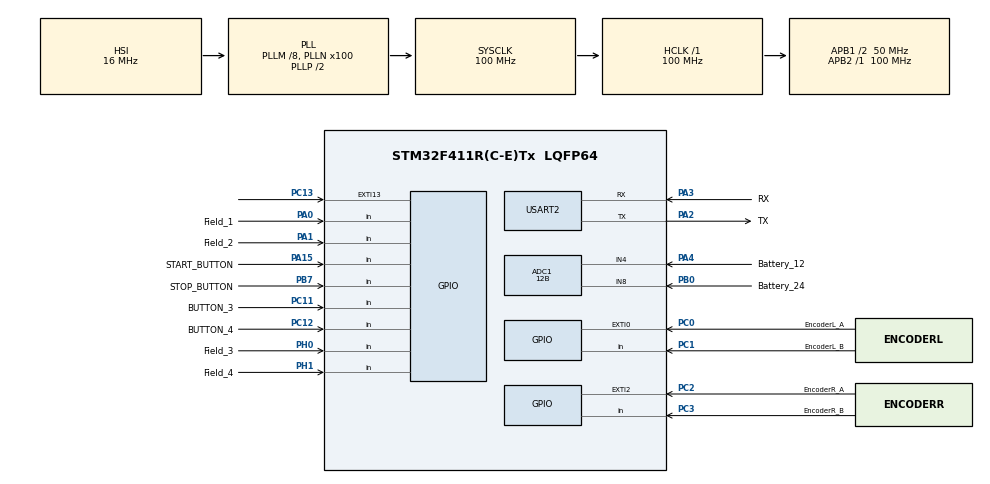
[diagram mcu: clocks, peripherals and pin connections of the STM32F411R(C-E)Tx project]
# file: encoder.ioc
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ADC1.Channel-60\#ChannelRegularConversion=ADC_CHANNEL_4
ADC1.Channel-62\#ChannelRegularConversion=ADC_CHANNEL_8
ADC1.ClockPrescaler=ADC_CLOCK_SYNC_PCLK_DIV8
ADC1.ContinuousConvMode=ENABLE
ADC1.DMAContinuousRequests=ENABLE
ADC1.DataAlign=ADC_DATAALIGN_RIGHT
ADC1.DiscontinuousConvMode=DISABLE
ADC1.EOCSelection=ADC_EOC_SINGLE_CONV
ADC1.EnableAnalogWatchDog=false
ADC1.ExternalTrigConv=ADC_SOFTWARE_START
ADC1.ExternalTrigConvEdge=ADC_EXTERNALTRIGCONVEDGE_NONE
ADC1.InjNumberOfConversion=0
ADC1.NbrOfConversion=2
ADC1.NbrOfConversionFlag=1
ADC1.Rank-60\#ChannelRegularConversion=1
ADC1.Rank-62\#ChannelRegularConversion=2
ADC1.Resolution=ADC_RESOLUTION_12B
ADC1.SamplingTime-60\#ChannelRegularConversion=ADC_SAMPLETIME_480CYCLES
ADC1.SamplingTime-62\#ChannelRegularConversion=ADC_SAMPLETIME_480CYCLES
ADC1.ScanConvMode=ENABLE
ADC1.master=1
Dma.ADC1.0.Direction=DMA_PERIPH_TO_MEMORY
Dma.ADC1.0.FIFOMode=DMA_FIFOMODE_DISABLE
Dma.ADC1.0.Instance=DMA2_Stream0
Dma.ADC1.0.MemDataAlignment=DMA_MDATAALIGN_HALFWORD
Dma.ADC1.0.MemInc=DMA_MINC_ENABLE
Dma.ADC1.0.Mode=DMA_CIRCULAR
Dma.ADC1.0.PeriphDataAlignment=DMA_PDATAALIGN_HALFWORD
Dma.ADC1.0.PeriphInc=DMA_PINC_DISABLE
Dma.ADC1.0.Priority=DMA_PRIORITY_LOW
Dma.Request0=ADC1
Mcu.Family=STM32F4
Mcu.Name=STM32F411R(C-E)Tx
Mcu.Package=LQFP64
NVIC.DMA2_Stream0_IRQn=true\:0\:0\:false\:false\:true
NVIC.EXTI0_IRQn=true\:0\:0\:false\:false\:true
NVIC.EXTI2_IRQn=true\:0\:0\:false\:false\:true
NVIC.PriorityGroup=NVIC_PRIORITYGROUP_0
NVIC.USART2_IRQn=true\:0\:0\:false\:false\:true
PA0-WKUP.GPIO_Label=Field_1
PA0-WKUP.Signal=GPIO_Input
PA1.GPIO_Label=Field_2
PA1.Signal=GPIO_Input
PA13.Signal=SYS_JTMS-SWDIO
PA14.Signal=SYS_JTCK-SWCLK
PA15.GPIO_Label=START_BUTTON
PA15.Signal=GPIO_Input
PA2.GPIO_Label=TX
PA2.GPIO_Mode=GPIO_MODE_AF_PP
PA2.GPIO_PuPd=GPIO_PULLUP
PA2.GPIO_Speed=GPIO_SPEED_FREQ_VERY_HIGH
PA2.Mode=Asynchronous
PA2.Signal=USART2_TX
PA3.GPIO_Label=RX
PA3.GPIO_Mode=GPIO_MODE_AF_PP
PA3.GPIO_PuPd=GPIO_PULLUP
PA3.GPIO_Speed=GPIO_SPEED_FREQ_VERY_HIGH
PA3.Mode=Asynchronous
PA3.Signal=USART2_RX
PA4.GPIO_Label=Battery_12
PA4.GPIO_Mode=GPIO_MODE_ANALOG
PA4.GPIO_PuPd=GPIO_NOPULL
PA4.Signal=ADCx_IN4
PB0.GPIO_Label=Battery_24
PB0.Signal=ADCx_IN8
PB3.Signal=SYS_JTDO-SWO
PB7.GPIO_Label=STOP_BUTTON
PB7.Signal=GPIO_Input
PC0.GPIO_Label=EncoderL_A
PC0.GPIO_ModeDefaultEXTI=GPIO_MODE_IT_RISING
PC0.GPIO_PuPd=GPIO_NOPULL
PC0.Signal=GPXTI0
PC1.GPIO_Label=EncoderL_B
PC1.GPIO_Mode=GPIO_MODE_INPUT
PC1.GPIO_PuPd=GPIO_NOPULL
PC1.Signal=GPIO_Input
PC11.GPIO_Label=BUTTON_3
PC11.Signal=GPIO_Input
PC12.GPIO_Label=BUTTON_4
PC12.Signal=GPIO_Input
PC13-ANTI_TAMP.GPIO_ModeDefaultEXTI=GPIO_MODE_IT_RISING
PC13-ANTI_TAMP.GPIO_PuPd=GPIO_NOPULL
PC13-ANTI_TAMP.Signal=GPXTI13
PC14-OSC32_IN.Signal=RCC_OSC32_IN
PC15-OSC32_OUT.Signal=RCC_OSC32_OUT
PC2.GPIO_Label=EncoderR_A
PC2.GPIO_ModeDefaultEXTI=GPIO_MODE_IT_RISING
PC2.GPIO_PuPd=GPIO_NOPULL
PC2.Signal=GPXTI2
PC3.GPIO_Label=EncoderR_B
PC3.GPIO_Mode=GPIO_MODE_INPUT
PC3.GPIO_PuPd=GPIO_NOPULL
PC3.Signal=GPIO_Input
PH0\ -\ OSC_IN.GPIO_Label=Field_3
PH0\ -\ OSC_IN.Signal=GPIO_Input
PH1\ -\ OSC_OUT.GPIO_Label=Field_4
PH1\ -\ OSC_OUT.Signal=GPIO_Input
ProjectManager.HeapSize=0x200
ProjectManager.StackSize=0x400
ProjectManager.TargetToolchain=SW4STM32
RCC.48MHZClocksFreq_Value=50000000
RCC.AHBFreq_Value=100000000
RCC.APB1CLKDivider=RCC_HCLK_DIV2
RCC.APB1Freq_Value=50000000
RCC.APB1TimFreq_Value=100000000
RCC.APB2Freq_Value=100000000
RCC.APB2TimFreq_Value=100000000
RCC.CortexFreq_Value=100000000
RCC.FLatency-AdvancedSettings=FLASH_LATENCY_3
RCC.HCLKFreq_Value=100000000
RCC.HSE_VALUE=8000000
RCC.HSI_VALUE=16000000
RCC.LSE_VALUE=32768
RCC.PLLM=8
RCC.PLLN=100
RCC.SYSCLKFreq_VALUE=100000000
RCC.SYSCLKSource=RCC_SYSCLKSOURCE_PLLCLK
RCC.VCOOutputFreq_Value=200000000
SH.ADCx_IN4.0=ADC1_IN4,IN4
SH.ADCx_IN8.0=ADC1_IN8,IN8
USART2.VirtualMode=VM_ASYNC
board=NUCLEO-F411RE

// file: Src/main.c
/**
  ******************************************************************************
  * File Name          : main.c
  * Description        : Main program body
  ******************************************************************************
  ** This notice applies to any and all portions of this file
  * that are not between comment pairs USER CODE BEGIN and
  * USER CODE END. Other portions of this file, whether
  * inserted by the user or by software development tools
  * are owned by their respective copyright owners.
  *
  * COPYRIGHT(c) 2017 STMicroelectronics
  *
  * Redistribution and use in source and binary forms, with or without modification,
  * are permitted provided that the following conditions are met:
  *   1. Redistributions of source code must retain the above copyright notice,
  *      this list of conditions and the following disclaimer.
  *   2. Redistributions in binary form must reproduce the above copyright notice,
  *      this list of conditions and the following disclaimer in the documentation
  *      and/or other materials provided with the distribution.
  *   3. Neither the name of STMicroelectronics nor the names of its contributors
  *      may be used to endorse or promote products derived from this software
  *      without specific prior written permission.
  *
  * THIS SOFTWARE IS PROVIDED BY THE COPYRIGHT HOLDERS AND CONTRIBUTORS "AS IS"
  * AND ANY EXPRESS OR IMPLIED WARRANTIES, INCLUDING, BUT NOT LIMITED TO, THE
  * IMPLIED WARRANTIES OF MERCHANTABILITY AND FITNESS FOR A PARTICULAR PURPOSE ARE
  * DISCLAIMED. IN NO EVENT SHALL THE COPYRIGHT HOLDER OR CONTRIBUTORS BE LIABLE
  * FOR ANY DIRECT, INDIRECT, INCIDENTAL, SPECIAL, EXEMPLARY, OR CONSEQUENTIAL
  * DAMAGES (INCLUDING, BUT NOT LIMITED TO, PROCUREMENT OF SUBSTITUTE GOODS OR
  * SERVICES; LOSS OF USE, DATA, OR PROFITS; OR BUSINESS INTERRUPTION) HOWEVER
  * CAUSED AND ON ANY THEORY OF LIABILITY, WHETHER IN CONTRACT, STRICT LIABILITY,
  * OR TORT (INCLUDING NEGLIGENCE OR OTHERWISE) ARISING IN ANY WAY OUT OF THE USE
  * OF THIS SOFTWARE, EVEN IF ADVISED OF THE POSSIBILITY OF SUCH DAMAGE.
  *
  ******************************************************************************
  */
#include "main.h"
#include "stm32f4xx_hal.h"

ADC_HandleTypeDef hadc1;
DMA_HandleTypeDef hdma_adc1;

UART_HandleTypeDef huart2;

/* USER CODE BEGIN PV */
/* Private variables ---------------------------------------------------------*/

//variables for speed measurement
volatile uint16_t eL_a=0;
volatile uint16_t eR_a=0;
volatile uint16_t eL_speed=0; //in peaks for 64ms
volatile uint16_t eR_speed=0; //in peaks for 64ms

//variables for lidar fields
volatile uint8_t field1=0;
volatile uint8_t field2=0;
volatile uint8_t field3=0;
volatile uint8_t field4=0;

//variables for buttons
volatile uint8_t button_stop=0;
volatile uint8_t button_start=0;
volatile uint8_t button_3=0;
volatile uint8_t button_4=0;

//variables for direction measurement
volatile uint8_t eRdir=0;
volatile uint8_t eLdir=0;
volatile uint8_t eRch=0;
volatile uint8_t eLch=0;

//variables for turns counter
volatile uint16_t eR_Ncnt=0;
volatile uint16_t eL_Ncnt=0;

volatile uint8_t tic;
//other

static uint8_t TX_data[14];
static uint8_t RX_cmd[2];
uint16_t Battery[2];

/* USER CODE END PV */

void SystemClock_Config(void);
static void MX_GPIO_Init(void);
static void MX_DMA_Init(void);
static void MX_USART2_UART_Init(void);
static void MX_ADC1_Init(void);

/* USER CODE BEGIN PFP */
/* Private function prototypes -----------------------------------------------*/
void HAL_GPIO_EXTI_Callback(uint16_t GPIO_Pin){
	switch (GPIO_Pin) {
	case EncoderL_A_Pin:
		eL_a++;
		if(HAL_GPIO_ReadPin(EncoderL_B_GPIO_Port,EncoderL_B_Pin)){
			if(eLdir==0)
				eL_a=0;
			eLdir=1;
			if(eL_Ncnt==65535)
				eLch=0;
			eL_Ncnt++;
		}
		else{
			if(eLdir==1)
				eL_a=0;
			eLdir=0;
			if(eL_Ncnt==0)
				eLch=1;
			eL_Ncnt--;
		}
		break;
	case EncoderR_A_Pin:
		eR_a++;
		if(HAL_GPIO_ReadPin(EncoderR_B_GPIO_Port,EncoderR_B_Pin)){
			if(eRdir==0)
				eR_a=0;
			eRdir=1;
			if(eR_Ncnt==65535)
				eRch=0;
			eR_Ncnt++;
		}
		else{
			if(eRdir==1)
				eR_a=0;
			eRdir=0;
			if(eR_Ncnt==0)
				eRch=1;
			eR_Ncnt--;
		}
		break;
	default:
		break;
	}
}

void HAL_SYSTICK_Callback(void)
{
	tic++;
  if(tic==64){
	  eL_speed=eL_a;
	  eR_speed=eR_a;
	  eL_a=0;
	  eR_a=0;
	  tic=0;
  }
}

void HAL_UART_RxCpltCallback(UART_HandleTypeDef *huart) {

	if(RX_cmd[0]=='#' && RX_cmd[1]=='#'){
		field1=HAL_GPIO_ReadPin(Field_1_GPIO_Port,Field_1_Pin);
		field2=HAL_GPIO_ReadPin(Field_2_GPIO_Port,Field_2_Pin);
		field3=HAL_GPIO_ReadPin(Field_3_GPIO_Port,Field_3_Pin);
		field4=HAL_GPIO_ReadPin(Field_4_GPIO_Port,Field_4_Pin);

		button_stop=HAL_GPIO_ReadPin(STOP_BUTTON_GPIO_Port,STOP_BUTTON_Pin);
		button_start=HAL_GPIO_ReadPin(START_BUTTON_GPIO_Port,START_BUTTON_Pin);
		button_3=HAL_GPIO_ReadPin(BUTTON_3_GPIO_Port,BUTTON_3_Pin);
		button_4=HAL_GPIO_ReadPin(BUTTON_4_GPIO_Port,BUTTON_4_Pin);

		TX_data[0]=eLdir+(eLch<<1)+(field1<<2)+(field2<<3)+(button_start<<4)+(button_stop<<5);
		TX_data[1]=eRdir+(eRch<<1)+(field3<<2)+(field4<<3)+(button_3<<4)+(button_4<<5);
		TX_data[2]=(uint8_t)(eL_speed>>8);
		TX_data[3]=(uint8_t)eL_speed;
		TX_data[4]=(uint8_t)(eR_speed>>8);
		TX_data[5]=(uint8_t)eR_speed;
		TX_data[6]=(uint8_t)eL_Ncnt;
		TX_data[7]=(uint8_t)(eL_Ncnt >> 8);
		TX_data[8]=(uint8_t)eR_Ncnt;
		TX_data[9]=(uint8_t)(eR_Ncnt >> 8);
		TX_data[10]=(uint8_t)(Battery[0]);
		TX_data[11]=(uint8_t)(Battery[0]>>8);
		TX_data[12]=(uint8_t)(Battery[1]);
		TX_data[13]=(uint8_t)(Battery[1]>>8);
		HAL_UART_Transmit_IT(&huart2, TX_data,14);
		eR_Ncnt=0;
		eRch=0;
		eL_Ncnt=0;
		eLch=0;
	}
	HAL_UART_Receive_IT(&huart2, RX_cmd, 2);
}

/* USER CODE END PFP */

int main(void)
{

  /* MCU Configuration----------------------------------------------------------*/

  /* Reset of all peripherals, Initializes the Flash interface and the Systick. */
  HAL_Init();

  /* Configure the system clock */
  SystemClock_Config();

  /* Initialize all configured peripherals */
  MX_GPIO_Init();
  MX_DMA_Init();
  MX_USART2_UART_Init();
  MX_ADC1_Init();

  /* USER CODE BEGIN 2 */
  HAL_UART_Receive_IT(&huart2, RX_cmd, 2);
  HAL_ADC_Start_DMA(&hadc1,Battery,2);

  /* USER CODE END 2 */

  /* Infinite loop */
  while (1)
  {

  }

}

/** System Clock Configuration
*/
void SystemClock_Config(void)
{

  RCC_OscInitTypeDef RCC_OscInitStruct;
  RCC_ClkInitTypeDef RCC_ClkInitStruct;

    /**Configure the main internal regulator output voltage
    */
  __HAL_RCC_PWR_CLK_ENABLE();

  __HAL_PWR_VOLTAGESCALING_CONFIG(PWR_REGULATOR_VOLTAGE_SCALE1);

    /**Initializes the CPU, AHB and APB busses clocks
    */
  RCC_OscInitStruct.OscillatorType = RCC_OSCILLATORTYPE_HSI;
  RCC_OscInitStruct.HSIState = RCC_HSI_ON;
  RCC_OscInitStruct.HSICalibrationValue = 16;
  RCC_OscInitStruct.PLL.PLLState = RCC_PLL_ON;
  RCC_OscInitStruct.PLL.PLLSource = RCC_PLLSOURCE_HSI;
  RCC_OscInitStruct.PLL.PLLM = 8;
  RCC_OscInitStruct.PLL.PLLN = 100;
  RCC_OscInitStruct.PLL.PLLP = RCC_PLLP_DIV2;
  RCC_OscInitStruct.PLL.PLLQ = 4;
  if (HAL_RCC_OscConfig(&RCC_OscInitStruct) != HAL_OK)
  {
    _Error_Handler(__FILE__, __LINE__);
  }

    /**Initializes the CPU, AHB and APB busses clocks
    */
  RCC_ClkInitStruct.ClockType = RCC_CLOCKTYPE_HCLK|RCC_CLOCKTYPE_SYSCLK
                              |RCC_CLOCKTYPE_PCLK1|RCC_CLOCKTYPE_PCLK2;
  RCC_ClkInitStruct.SYSCLKSource = RCC_SYSCLKSOURCE_PLLCLK;
  RCC_ClkInitStruct.AHBCLKDivider = RCC_SYSCLK_DIV1;
  RCC_ClkInitStruct.APB1CLKDivider = RCC_HCLK_DIV2;
  RCC_ClkInitStruct.APB2CLKDivider = RCC_HCLK_DIV1;

  if (HAL_RCC_ClockConfig(&RCC_ClkInitStruct, FLASH_LATENCY_3) != HAL_OK)
  {
    _Error_Handler(__FILE__, __LINE__);
  }

    /**Configure the Systick interrupt time
    */
  HAL_SYSTICK_Config(HAL_RCC_GetHCLKFreq()/1000);

    /**Configure the Systick
    */
  HAL_SYSTICK_CLKSourceConfig(SYSTICK_CLKSOURCE_HCLK);

  /* SysTick_IRQn interrupt configuration */
  HAL_NVIC_SetPriority(SysTick_IRQn, 0, 0);
}

/* ADC1 init function */
static void MX_ADC1_Init(void)
{

  ADC_ChannelConfTypeDef sConfig;

    /**Configure the global features of the ADC (Clock, Resolution, Data Alignment and number of conversion)
    */
  hadc1.Instance = ADC1;
  hadc1.Init.ClockPrescaler = ADC_CLOCK_SYNC_PCLK_DIV8;
  hadc1.Init.Resolution = ADC_RESOLUTION_12B;
  hadc1.Init.ScanConvMode = ENABLE;
  hadc1.Init.ContinuousConvMode = ENABLE;
  hadc1.Init.DiscontinuousConvMode = DISABLE;
  hadc1.Init.ExternalTrigConvEdge = ADC_EXTERNALTRIGCONVEDGE_NONE;
  hadc1.Init.ExternalTrigConv = ADC_SOFTWARE_START;
  hadc1.Init.DataAlign = ADC_DATAALIGN_RIGHT;
  hadc1.Init.NbrOfConversion = 2;
  hadc1.Init.DMAContinuousRequests = ENABLE;
  hadc1.Init.EOCSelection = ADC_EOC_SINGLE_CONV;
  if (HAL_ADC_Init(&hadc1) != HAL_OK)
  {
    _Error_Handler(__FILE__, __LINE__);
  }

    /**Configure for the selected ADC regular channel its corresponding rank in the sequencer and its sample time.
    */
  sConfig.Channel = ADC_CHANNEL_4;
  sConfig.Rank = 1;
  sConfig.SamplingTime = ADC_SAMPLETIME_480CYCLES;
  if (HAL_ADC_ConfigChannel(&hadc1, &sConfig) != HAL_OK)
  {
    _Error_Handler(__FILE__, __LINE__);
  }

    /**Configure for the selected ADC regular channel its corresponding rank in the sequencer and its sample time.
    */
  sConfig.Channel = ADC_CHANNEL_8;
  sConfig.Rank = 2;
  if (HAL_ADC_ConfigChannel(&hadc1, &sConfig) != HAL_OK)
  {
    _Error_Handler(__FILE__, __LINE__);
  }

}

/* USART2 init function */
static void MX_USART2_UART_Init(void)
{

  huart2.Instance = USART2;
  huart2.Init.BaudRate = 115200;
  huart2.Init.WordLength = UART_WORDLENGTH_8B;
  huart2.Init.StopBits = UART_STOPBITS_1;
  huart2.Init.Parity = UART_PARITY_NONE;
  huart2.Init.Mode = UART_MODE_TX_RX;
  huart2.Init.HwFlowCtl = UART_HWCONTROL_NONE;
  huart2.Init.OverSampling = UART_OVERSAMPLING_16;
  if (HAL_UART_Init(&huart2) != HAL_OK)
  {
    _Error_Handler(__FILE__, __LINE__);
  }

}

static void MX_DMA_Init(void)
{
  /* DMA controller clock enable */
  __HAL_RCC_DMA2_CLK_ENABLE();

  /* DMA interrupt init */
  /* DMA2_Stream0_IRQn interrupt configuration */
  HAL_NVIC_SetPriority(DMA2_Stream0_IRQn, 0, 0);
  HAL_NVIC_EnableIRQ(DMA2_Stream0_IRQn);

}

/** Configure pins as
        * Analog
        * Input
        * Output
        * EVENT_OUT
        * EXTI
*/
static void MX_GPIO_Init(void)
{

  GPIO_InitTypeDef GPIO_InitStruct;

  /* GPIO Ports Clock Enable */
  __HAL_RCC_GPIOC_CLK_ENABLE();
  __HAL_RCC_GPIOH_CLK_ENABLE();
  __HAL_RCC_GPIOA_CLK_ENABLE();
  __HAL_RCC_GPIOB_CLK_ENABLE();

  /*Configure GPIO pins : PC13 EncoderL_A_Pin EncoderR_A_Pin */
  GPIO_InitStruct.Pin = GPIO_PIN_13|EncoderL_A_Pin|EncoderR_A_Pin;
  GPIO_InitStruct.Mode = GPIO_MODE_IT_RISING;
  GPIO_InitStruct.Pull = GPIO_NOPULL;
  HAL_GPIO_Init(GPIOC, &GPIO_InitStruct);

  /*Configure GPIO pins : Field_3_Pin Field_4_Pin */
  GPIO_InitStruct.Pin = Field_3_Pin|Field_4_Pin;
  GPIO_InitStruct.Mode = GPIO_MODE_INPUT;
  GPIO_InitStruct.Pull = GPIO_NOPULL;
  HAL_GPIO_Init(GPIOH, &GPIO_InitStruct);

  /*Configure GPIO pins : EncoderL_B_Pin EncoderR_B_Pin BUTTON_3_Pin BUTTON_4_Pin */
  GPIO_InitStruct.Pin = EncoderL_B_Pin|EncoderR_B_Pin|BUTTON_3_Pin|BUTTON_4_Pin;
  GPIO_InitStruct.Mode = GPIO_MODE_INPUT;
  GPIO_InitStruct.Pull = GPIO_NOPULL;
  HAL_GPIO_Init(GPIOC, &GPIO_InitStruct);

  /*Configure GPIO pins : Field_1_Pin Field_2_Pin START_BUTTON_Pin */
  GPIO_InitStruct.Pin = Field_1_Pin|Field_2_Pin|START_BUTTON_Pin;
  GPIO_InitStruct.Mode = GPIO_MODE_INPUT;
  GPIO_InitStruct.Pull = GPIO_NOPULL;
  HAL_GPIO_Init(GPIOA, &GPIO_InitStruct);

  /*Configure GPIO pin : STOP_BUTTON_Pin */
  GPIO_InitStruct.Pin = STOP_BUTTON_Pin;
  GPIO_InitStruct.Mode = GPIO_MODE_INPUT;
  GPIO_InitStruct.Pull = GPIO_NOPULL;
  HAL_GPIO_Init(STOP_BUTTON_GPIO_Port, &GPIO_InitStruct);

  /* EXTI interrupt init*/
  HAL_NVIC_SetPriority(EXTI0_IRQn, 0, 0);
  HAL_NVIC_EnableIRQ(EXTI0_IRQn);

  HAL_NVIC_SetPriority(EXTI2_IRQn, 0, 0);
  HAL_NVIC_EnableIRQ(EXTI2_IRQn);

}

void _Error_Handler(char * file, int line)
{
  while(1)
  {
  }
}

/************************ (C) COPYRIGHT STMicroelectronics *****END OF FILE****/
